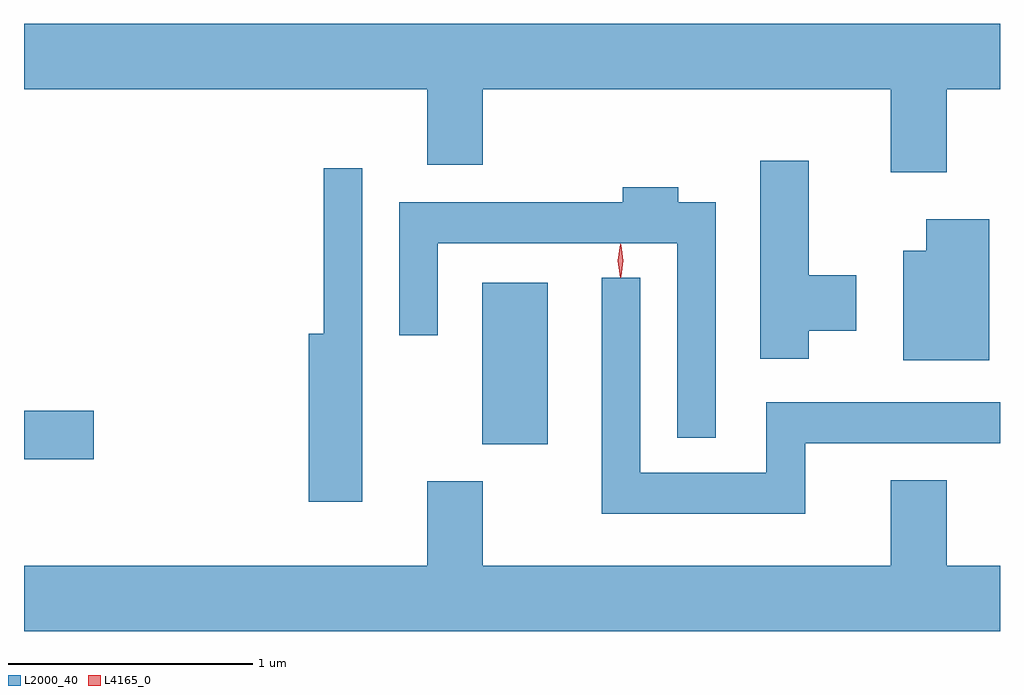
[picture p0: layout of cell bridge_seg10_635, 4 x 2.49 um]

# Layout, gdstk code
import gdstk
lib = gdstk.Library(unit=1e-6, precision=1e-09)
def R(c, l, rs):  # rectangles x0, y0, x1, y1
    for r in rs: c.add(gdstk.rectangle(r[:2], r[2:], *l))
def P(c, l, *ps):  # polygons
    for p in ps: c.add(gdstk.Polygon(p, *l))
L2000_40 = (2000, 40)
L4165_0 = (4165, 0)

bridge_seg10_635 = lib.new_cell('bridge_seg10_635')
R(bridge_seg10_635, L2000_40, [(988.168,2096.861,988.454,2097.059), (990.046,2096.921,990.314,2097.584)])
P(bridge_seg10_635, L2000_40, [(991.949,2098.376),(992.168,2098.376),(992.168,2098.644),(988.168,2098.644),(988.168,2098.376),(989.821,2098.376),(989.821,2098.066),(990.049,2098.066),(990.049,2098.376),(991.721,2098.376),(991.721,2098.036),(991.949,2098.036)],
  [(991.384,2097.386),(991.579,2097.386),(991.579,2097.614),(991.384,2097.614),(991.384,2098.084),(991.186,2098.084),(991.186,2097.271),(991.384,2097.271)],
  [(989.554,2098.053),(989.396,2098.053),(989.396,2097.374),(989.336,2097.374),(989.336,2096.686),(989.554,2096.686)],
  [(991.004,2097.914),(990.849,2097.914),(990.849,2097.974),(990.621,2097.974),(990.621,2097.914),(989.706,2097.914),(989.706,2097.368),(989.864,2097.368),(989.864,2097.746),(990.846,2097.746),(990.846,2096.948),(991.004,2096.948)],
  [(992.124,2097.844),(991.866,2097.844),(991.866,2097.714),(991.771,2097.714),(991.771,2097.266),(992.124,2097.266)],
  [(991.369,2096.926),(992.168,2096.926),(992.168,2097.094),(991.211,2097.094),(991.211,2096.804),(990.694,2096.804),(990.694,2097.603),(990.536,2097.603),(990.536,2096.636),(991.369,2096.636)],
  [(992.168,2096.424),(991.949,2096.424),(991.949,2096.774),(991.721,2096.774),(991.721,2096.424),(990.049,2096.424),(990.049,2096.769),(989.821,2096.769),(989.821,2096.424),(988.168,2096.424),(988.168,2096.156),(992.168,2096.156)])
P(bridge_seg10_635, L4165_0, [(990.612,2097.604),(990.612,2097.604),(990.602,2097.673),(990.612,2097.742),(990.612,2097.743),(990.613,2097.742),(990.622,2097.673),(990.613,2097.604)],
  [(990.614,2097.607),(990.614,2097.608),(990.604,2097.674),(990.614,2097.74),(990.614,2097.741),(990.615,2097.74),(990.624,2097.674),(990.615,2097.608)])

lib.write_gds('bridge_seg10_635.gds')
